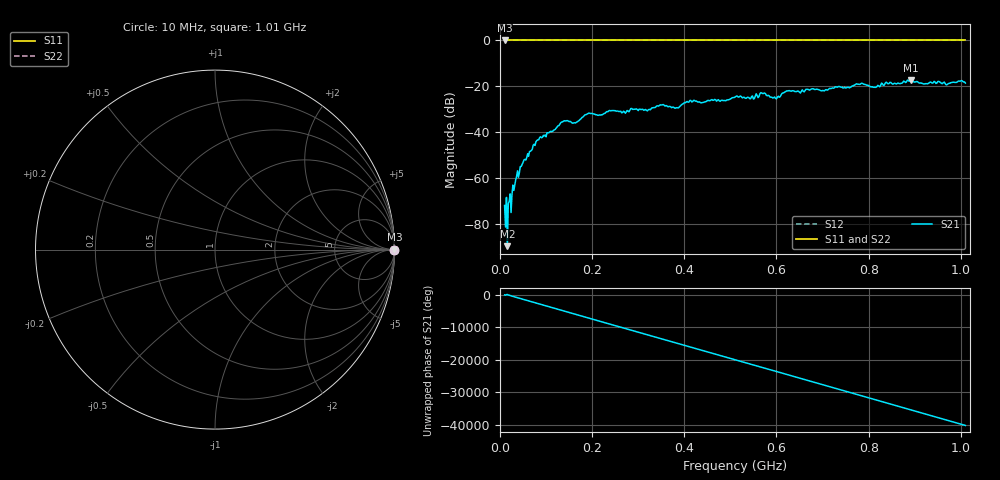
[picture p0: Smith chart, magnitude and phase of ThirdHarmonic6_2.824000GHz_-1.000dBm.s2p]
! 8/17/2025 7:29:36 AM
! C:\ANRITSUVNA\TEMP\TEMP.S2P
! CHANNEL.1
! TR.MEASUREMENT
! RAW.DATA
! RF.CORRECTION.OFF
! AVERAGING.OFF
! IF.BANDWIDTH: 5KHZ
! SWEEPTYPE:  FREQ.SWEEP(Linear)
! Reference Plane Port Info
! PORT:  PORT1  PORT2
! DISTANCE:  0  m  0  m
! TIME:  0  s  0  s
! PHASE.OFFSET:  0  deg.  0  deg.
! LOSS:  0  dB  0  dB
! REF.LOSS:  0  dB  0  dB
! REF.FREQ:  0  Hz  0  Hz
! Power Info
! POWER:  -20  dBm  -20  dBm
! EFF.POWER:  -20  dBm  -20  dBm
! SOURCE.ATTEN:  0  dB  0  dB
! TEST.ATTEN:  0  dB  0  dB
# GHZ S RI R 50.0
! FREQ.GHZ  S11RE  S11IM  S21RE  S21IM  S12RE  S12IM  S22RE  S22IM
!; PortSelection: Port_12
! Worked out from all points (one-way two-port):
!   501 points, 10 MHz to 1.01 GHz, reference 50 ohm
!   highest |S21| = -17.28 dB at 892 MHz (marker M1); lowest = -89.7 dB at 16 MHz (marker M2)
!   lowest |S11| = 0.0 dB at 10 MHz (marker M3)
!   |S11| at or under -10 dB: nowhere
!   |S22| runs from 0.0 to 0.0 dB; largest |S21 - S12| = 1.1
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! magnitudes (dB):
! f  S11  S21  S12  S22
! 10 MHz  0.0  -71.9  0.0  0.0
! 16 MHz  0.0  -89.7  0.0  0.0
! 18 MHz  0.0  -70.9  0.0  0.0
! 20 MHz  0.0  -70.1  0.0  0.0
! 32 MHz  0.0  -63.0  0.0  0.0
! 48 MHz  0.0  -54.1  0.0  0.0
! 82 MHz  0.0  -43.3  0.0  0.0
! 136 MHz  0.0  -35.5  0.0  0.0
! 162 MHz  0.0  -35.9  0.0  0.0
! 178 MHz  0.0  -33.6  0.0  0.0
! 344 MHz  0.0  -28.6  0.0  0.0
! 384 MHz  0.0  -29.3  0.0  0.0
! 410 MHz  0.0  -26.8  0.0  0.0
! 510 MHz  0.0  -24.7  0.0  0.0
! 548 MHz  0.0  -24.2  0.0  0.0
! 570 MHz  0.0  -23.1  0.0  0.0
! 596 MHz  0.0  -24.6  0.0  0.0
! 624 MHz  0.0  -22.0  0.0  0.0
! 678 MHz  0.0  -21.1  0.0  0.0
! 844 MHz  0.0  -18.8  0.0  0.0
! 892 MHz  0.0  -17.3  0.0  0.0
! 1.01 GHz  0.0  -18.6  0.0  0.0
